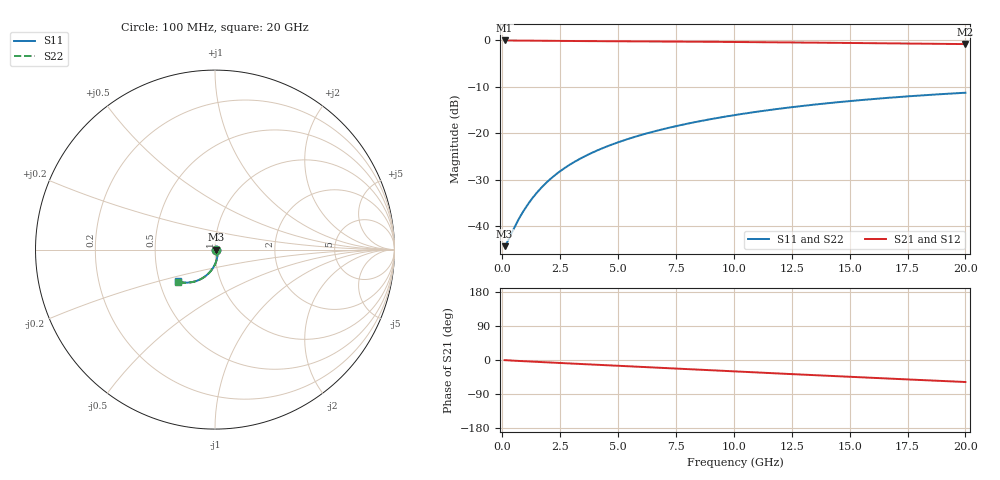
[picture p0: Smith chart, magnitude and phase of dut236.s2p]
! Touchstone file exported from HFSS 2026.1.0
!  File:  C:/ffzhzh/LocalFiles/Ansys_Project_Files/temp_train_BSMRDL_236_1782988337_42984.aedt
!  Generated:  06:34:45 PM Jul  2, 2026
!  Design:  BSMRDL
!  Project:  temp_train_BSMRDL_236_1782988337_42984
! Variables:
!  h_bsmrdl = 2.06um
!  h_ox = 20um
!  h_rdl = 5um
!  h_sub = 80um
!  h_tmrdl = 5um
!  h_tsv = 80um
!  h_via = 3um
!  l_bsmrdl = 960.12um
!  l_sub = 1360.12um
!  l_tmrdl = 200um
!  m_sub = 200um
!  pitch = 30.88um
!  r_tsv = 6um
!  s_tmrdl = 10um
!  w_bsmrdl = 29.77um
!  w_sub = 500um
!  w_tmrdl = 12um
!  x_tsv_center1 = 206um
!  x_tsv_center2 = 1195.89um
!  x_tsv_center3 = 1407.89um
!  x_tsv_center4 = 2397.78um
!  x_tsv_center5 = 2609.78um
!  x_tsv_center6 = 3599.67um
# GHz S MA R 50.000000
! Terminal data exported
! Port[1] = BSM_RDL1_1_T1
! Port[2] = BSM_RDL1_1_T2
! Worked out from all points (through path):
!   200 points, 100 MHz to 20 GHz, reference 50 ohm
!   highest |S21| = -0.05 dB at 100 MHz (marker M1); lowest = -0.8 dB at 20 GHz (marker M2)
!   group delay of S21, straight-line fit = 8.03 ps
!   lowest |S11| = -44.3 dB at 100 MHz (marker M3), VSWR 1.01, Z = 50.6 - j0.0226 ohm
!   |S11| at or under -10 dB: start of sweep to end of sweep
!   |S22| runs from -44.3 to -11.3 dB; largest |S21 - S12| = 3.1e-13
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0.1  0.006072 -2.1  0.9939 -0.4  0.9939 -0.4  0.006072 -2.1
! Gamma 0 0 0 0
! Port Impedance 50 0 50 0
0.2  0.006617 -5.4  0.9934 -0.8  0.9934 -0.8  0.006617 -5.4
0.6  0.01053 -26.0  0.9904 -2.1  0.9904 -2.1  0.01054 -26.0
0.9  0.0143 -38.9  0.9884 -3.1  0.9884 -3.1  0.0143 -38.9
1.2  0.01849 -48.4  0.9867 -4.0  0.9867 -4.0  0.01849 -48.4
1.4  0.02145 -53.3  0.9857 -4.6  0.9857 -4.6  0.02146 -53.3
1.6  0.02452 -57.4  0.9847 -5.2  0.9847 -5.2  0.02452 -57.4
2  0.03084 -64.1  0.9831 -6.4  0.9831 -6.4  0.03085 -64.1
2.4  0.03732 -69.3  0.9817 -7.6  0.9817 -7.6  0.03733 -69.3
2.9  0.0455 -74.6  0.9801 -9.1  0.9801 -9.1  0.04551 -74.6
3.5  0.05533 -79.7  0.9785 -10.9  0.9785 -10.9  0.05534 -79.7
4.2  0.06674 -84.6  0.9766 -12.9  0.9766 -12.9  0.06676 -84.5
5  0.07966 -89.2  0.9745 -15.3  0.9745 -15.3  0.07968 -89.2
5.9  0.09399 -93.7  0.9719 -18.0  0.9719 -18.0  0.09402 -93.6
6.8  0.1081 -97.6  0.9691 -20.6  0.9691 -20.6  0.1081 -97.6
8.3  0.131 -103.5  0.964 -25.1  0.964 -25.1  0.131 -103.5
10.1  0.1573 -109.9  0.9569 -30.3  0.9569 -30.3  0.1574 -109.8
11.7  0.1796 -115.1  0.95 -34.9  0.95 -34.9  0.1796 -115.0
13.4  0.2018 -120.4  0.942 -39.8  0.942 -39.8  0.2019 -120.3
15  0.2212 -125.2  0.9341 -44.3  0.9341 -44.3  0.2213 -125.0
16.7  0.2403 -130.1  0.9254 -49.1  0.9254 -49.1  0.2404 -129.9
20  0.2721 -139.2  0.9084 -58.1  0.9084 -58.1  0.2723 -139.0
